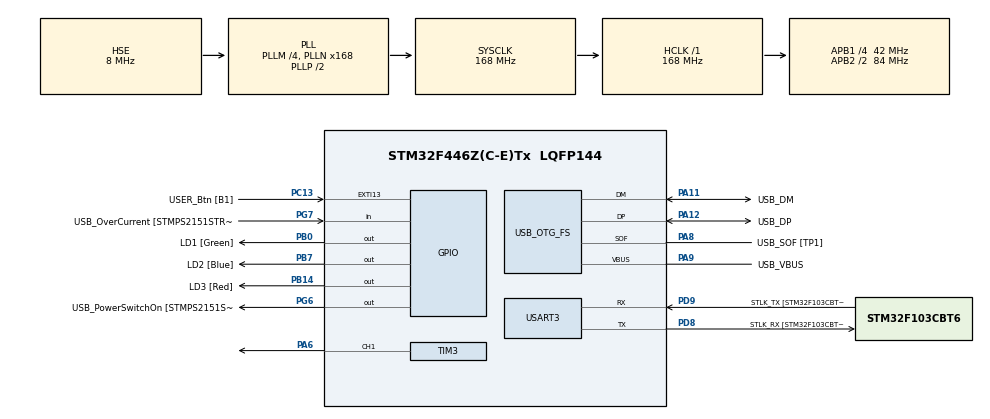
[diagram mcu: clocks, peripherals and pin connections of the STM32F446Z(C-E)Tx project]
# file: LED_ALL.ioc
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Dma.Request0=TIM3_CH1/TRIG
Dma.TIM3_CH1/TRIG.0.Direction=DMA_MEMORY_TO_PERIPH
Dma.TIM3_CH1/TRIG.0.FIFOMode=DMA_FIFOMODE_DISABLE
Dma.TIM3_CH1/TRIG.0.Instance=DMA1_Stream4
Dma.TIM3_CH1/TRIG.0.MemDataAlignment=DMA_MDATAALIGN_WORD
Dma.TIM3_CH1/TRIG.0.MemInc=DMA_MINC_ENABLE
Dma.TIM3_CH1/TRIG.0.Mode=DMA_NORMAL
Dma.TIM3_CH1/TRIG.0.PeriphDataAlignment=DMA_PDATAALIGN_WORD
Dma.TIM3_CH1/TRIG.0.PeriphInc=DMA_PINC_DISABLE
Dma.TIM3_CH1/TRIG.0.Priority=DMA_PRIORITY_LOW
Mcu.Family=STM32F4
Mcu.Name=STM32F446Z(C-E)Tx
Mcu.Package=LQFP144
NVIC.DMA1_Stream4_IRQn=true\:0\:0\:false\:false\:true\:false\:true\:true
NVIC.PriorityGroup=NVIC_PRIORITYGROUP_4
PA10.GPIO_Label=USB_ID
PA10.Signal=USB_OTG_FS_ID
PA11.GPIO_Label=USB_DM
PA11.Mode=Device_Only
PA11.Signal=USB_OTG_FS_DM
PA12.GPIO_Label=USB_DP
PA12.Mode=Device_Only
PA12.Signal=USB_OTG_FS_DP
PA13.GPIO_Label=TMS
PA13.Mode=Serial_Wire
PA13.Signal=SYS_JTMS-SWDIO
PA14.GPIO_Label=TCK
PA14.Mode=Serial_Wire
PA14.Signal=SYS_JTCK-SWCLK
PA6.Signal=S_TIM3_CH1
PA8.GPIO_Label=USB_SOF [TP1]
PA8.Mode=Activate_SOF_FS
PA8.Signal=USB_OTG_FS_SOF
PA9.GPIO_Label=USB_VBUS
PA9.Mode=Activate_VBUS
PA9.Signal=USB_OTG_FS_VBUS
PB0.GPIO_Label=LD1 [Green]
PB0.Signal=GPIO_Output
PB14.GPIO_Label=LD3 [Red]
PB14.Signal=GPIO_Output
PB7.GPIO_Label=LD2 [Blue]
PB7.Signal=GPIO_Output
PC13.GPIO_Label=USER_Btn [B1]
PC13.Signal=GPXTI13
PC14-OSC32_IN.Mode=LSE-External-Oscillator
PC14-OSC32_IN.Signal=RCC_OSC32_IN
PC15-OSC32_OUT.Mode=LSE-External-Oscillator
PC15-OSC32_OUT.Signal=RCC_OSC32_OUT
PD8.GPIO_Label=STLK_RX [STM32F103CBT6_PA3]
PD8.Mode=Asynchronous
PD8.Signal=USART3_TX
PD9.GPIO_Label=STLK_TX [STM32F103CBT6_PA2]
PD9.Mode=Asynchronous
PD9.Signal=USART3_RX
PG6.GPIO_Label=USB_PowerSwitchOn [STMPS2151STR_EN]
PG6.Signal=GPIO_Output
PG7.GPIO_Label=USB_OverCurrent [STMPS2151STR_FAULT]
PG7.Signal=GPIO_Input
PH0-OSC_IN.GPIO_Label=MCO [STM32F103CBT6_PA8]
PH0-OSC_IN.Mode=HSE-External-Clock-Source
PH0-OSC_IN.Signal=RCC_OSC_IN
PH1-OSC_OUT.Mode=HSE-External-Clock-Source
PH1-OSC_OUT.Signal=RCC_OSC_OUT
ProjectManager.HeapSize=0x200
ProjectManager.StackSize=0x400
ProjectManager.TargetToolchain=STM32CubeIDE
RCC.48MHZClocksFreq_Value=24000000
RCC.AHBFreq_Value=168000000
RCC.APB1CLKDivider=RCC_HCLK_DIV4
RCC.APB1Freq_Value=42000000
RCC.APB1TimFreq_Value=84000000
RCC.APB2CLKDivider=RCC_HCLK_DIV2
RCC.APB2Freq_Value=84000000
RCC.APB2TimFreq_Value=168000000
RCC.CortexFreq_Value=168000000
RCC.HCLKFreq_Value=168000000
RCC.HSE_VALUE=8000000
RCC.HSI_VALUE=16000000
RCC.PLLM=4
RCC.PLLMUL=RCC_PLL_MUL9
RCC.PLLN=168
RCC.PLLQ=7
RCC.PRESCALERUSB=RCC_USBCLKSOURCE_PLL_DIV1_5
RCC.SYSCLKFreq_VALUE=168000000
RCC.SYSCLKSource=RCC_SYSCLKSOURCE_PLLCLK
RCC.SYSCLKSourceVirtual=RCC_SYSCLKSOURCE_PLLCLK
RCC.USBFreq_Value=48000000
RCC.VCOOutputFreq_Value=336000000
SH.S_TIM3_CH1.0=TIM3_CH1,PWM Generation1 CH1
TIM3.AutoReloadPreload=TIM_AUTORELOAD_PRELOAD_ENABLE
TIM3.Channel-PWM\ Generation1\ CH1=TIM_CHANNEL_1
TIM3.Period=224
USART3.VirtualMode=VM_ASYNC
USB_OTG_FS.VirtualMode=Device_Only
board=NUCLEO-F446ZE

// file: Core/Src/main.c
/* USER CODE BEGIN Header */
/**
 ******************************************************************************
 * @file           : main.c
 * @brief          : Main program body
 ******************************************************************************
 * @attention
 *
 * Copyright (c) 2026 STMicroelectronics.
 * All rights reserved.
 *
 * This software is licensed under terms that can be found in the LICENSE file
 * in the root directory of this software component.
 * If no LICENSE file comes with this software, it is provided AS-IS.
 *
 ******************************************************************************
 */
/* USER CODE END Header */
#include "main.h"

/* USER CODE BEGIN Includes */
#include"ws2812b.h"
/* USER CODE END Includes */

TIM_HandleTypeDef htim3;
DMA_HandleTypeDef hdma_tim3_ch1_trig;

UART_HandleTypeDef huart3;

PCD_HandleTypeDef hpcd_USB_OTG_FS;

void SystemClock_Config(void);
static void MX_GPIO_Init(void);
static void MX_DMA_Init(void);
static void MX_USART3_UART_Init(void);
static void MX_USB_OTG_FS_PCD_Init(void);
static void MX_TIM3_Init(void);

/* USER CODE BEGIN 0 */
void HAL_TIM_PWM_PulseFinishedCallback(TIM_HandleTypeDef *htim) {
	WS2812B_TransferComplete(htim);
}
/* USER CODE END 0 */

int main(void) {

	/* MCU Configuration--------------------------------------------------------*/

	/* Reset of all peripherals, Initializes the Flash interface and the Systick. */
	HAL_Init();

	/* Configure the system clock */
	SystemClock_Config();

	/* Initialize all configured peripherals */
	MX_GPIO_Init();
	MX_DMA_Init();
	MX_USART3_UART_Init();
	MX_USB_OTG_FS_PCD_Init();
	MX_TIM3_Init();
	/* USER CODE BEGIN 2 */
	WS2812B_Init(&htim3);
	WS2812B_SetBrightness(80);
//	uint8_t hue = 0;
	/* USER CODE END 2 */

	/* Infinite loop */
	while (1) {

		/* USER CODE BEGIN 3 */
		WS2812B_Fill(CRGB_Chocolate);
		WS2812B_Show();
		HAL_Delay(1000);

		WS2812B_Fill(CRGB_ForestGreen);
		WS2812B_Show();
		HAL_Delay(1000);

		WS2812B_Fill(CRGB_DarkGreen);
		WS2812B_Show();
		HAL_Delay(1000);

		WS2812B_Fill(CRGB_Coral);
		WS2812B_Show();
		HAL_Delay(1000);

		WS2812B_Fill(CRGB_Salmon);
		WS2812B_Show();
		HAL_Delay(1000);
	}
	/* USER CODE END 3 */
}

void SystemClock_Config(void) {
	RCC_OscInitTypeDef RCC_OscInitStruct = { 0 };
	RCC_ClkInitTypeDef RCC_ClkInitStruct = { 0 };

	/** Configure the main internal regulator output voltage
	 */
	__HAL_RCC_PWR_CLK_ENABLE();
	__HAL_PWR_VOLTAGESCALING_CONFIG(PWR_REGULATOR_VOLTAGE_SCALE1);

	/** Initializes the RCC Oscillators according to the specified parameters
	 * in the RCC_OscInitTypeDef structure.
	 */
	RCC_OscInitStruct.OscillatorType = RCC_OSCILLATORTYPE_HSE;
	RCC_OscInitStruct.HSEState = RCC_HSE_BYPASS;
	RCC_OscInitStruct.PLL.PLLState = RCC_PLL_ON;
	RCC_OscInitStruct.PLL.PLLSource = RCC_PLLSOURCE_HSE;
	RCC_OscInitStruct.PLL.PLLM = 4;
	RCC_OscInitStruct.PLL.PLLN = 168;
	RCC_OscInitStruct.PLL.PLLP = RCC_PLLP_DIV2;
	RCC_OscInitStruct.PLL.PLLQ = 7;
	RCC_OscInitStruct.PLL.PLLR = 2;
	if (HAL_RCC_OscConfig(&RCC_OscInitStruct) != HAL_OK) {
		Error_Handler();
	}

	/** Initializes the CPU, AHB and APB buses clocks
	 */
	RCC_ClkInitStruct.ClockType = RCC_CLOCKTYPE_HCLK | RCC_CLOCKTYPE_SYSCLK
			| RCC_CLOCKTYPE_PCLK1 | RCC_CLOCKTYPE_PCLK2;
	RCC_ClkInitStruct.SYSCLKSource = RCC_SYSCLKSOURCE_PLLCLK;
	RCC_ClkInitStruct.AHBCLKDivider = RCC_SYSCLK_DIV1;
	RCC_ClkInitStruct.APB1CLKDivider = RCC_HCLK_DIV4;
	RCC_ClkInitStruct.APB2CLKDivider = RCC_HCLK_DIV2;

	if (HAL_RCC_ClockConfig(&RCC_ClkInitStruct, FLASH_LATENCY_5) != HAL_OK) {
		Error_Handler();
	}
}

static void MX_TIM3_Init(void) {

	TIM_MasterConfigTypeDef sMasterConfig = { 0 };
	TIM_OC_InitTypeDef sConfigOC = { 0 };

	htim3.Instance = TIM3;
	htim3.Init.Prescaler = 0;
	htim3.Init.CounterMode = TIM_COUNTERMODE_UP;
	htim3.Init.Period = 104;
	htim3.Init.ClockDivision = TIM_CLOCKDIVISION_DIV1;
	htim3.Init.AutoReloadPreload = TIM_AUTORELOAD_PRELOAD_ENABLE;
	if (HAL_TIM_PWM_Init(&htim3) != HAL_OK) {
		Error_Handler();
	}
	sMasterConfig.MasterOutputTrigger = TIM_TRGO_RESET;
	sMasterConfig.MasterSlaveMode = TIM_MASTERSLAVEMODE_DISABLE;
	if (HAL_TIMEx_MasterConfigSynchronization(&htim3, &sMasterConfig)
			!= HAL_OK) {
		Error_Handler();
	}
	sConfigOC.OCMode = TIM_OCMODE_PWM1;
	sConfigOC.Pulse = 0;
	sConfigOC.OCPolarity = TIM_OCPOLARITY_HIGH;
	sConfigOC.OCFastMode = TIM_OCFAST_DISABLE;
	if (HAL_TIM_PWM_ConfigChannel(&htim3, &sConfigOC, TIM_CHANNEL_1)
			!= HAL_OK) {
		Error_Handler();
	}
	HAL_TIM_MspPostInit(&htim3);

}

static void MX_USART3_UART_Init(void) {

	huart3.Instance = USART3;
	huart3.Init.BaudRate = 115200;
	huart3.Init.WordLength = UART_WORDLENGTH_8B;
	huart3.Init.StopBits = UART_STOPBITS_1;
	huart3.Init.Parity = UART_PARITY_NONE;
	huart3.Init.Mode = UART_MODE_TX_RX;
	huart3.Init.HwFlowCtl = UART_HWCONTROL_NONE;
	huart3.Init.OverSampling = UART_OVERSAMPLING_16;
	if (HAL_UART_Init(&huart3) != HAL_OK) {
		Error_Handler();
	}

}

static void MX_USB_OTG_FS_PCD_Init(void) {

	hpcd_USB_OTG_FS.Instance = USB_OTG_FS;
	hpcd_USB_OTG_FS.Init.dev_endpoints = 6;
	hpcd_USB_OTG_FS.Init.speed = PCD_SPEED_FULL;
	hpcd_USB_OTG_FS.Init.dma_enable = DISABLE;
	hpcd_USB_OTG_FS.Init.phy_itface = PCD_PHY_EMBEDDED;
	hpcd_USB_OTG_FS.Init.Sof_enable = ENABLE;
	hpcd_USB_OTG_FS.Init.low_power_enable = DISABLE;
	hpcd_USB_OTG_FS.Init.lpm_enable = DISABLE;
	hpcd_USB_OTG_FS.Init.vbus_sensing_enable = ENABLE;
	hpcd_USB_OTG_FS.Init.use_dedicated_ep1 = DISABLE;
	if (HAL_PCD_Init(&hpcd_USB_OTG_FS) != HAL_OK) {
		Error_Handler();
	}

}

static void MX_DMA_Init(void) {

	/* DMA controller clock enable */
	__HAL_RCC_DMA1_CLK_ENABLE();

	/* DMA interrupt init */
	/* DMA1_Stream4_IRQn interrupt configuration */
	HAL_NVIC_SetPriority(DMA1_Stream4_IRQn, 0, 0);
	HAL_NVIC_EnableIRQ(DMA1_Stream4_IRQn);

}

static void MX_GPIO_Init(void) {
	GPIO_InitTypeDef GPIO_InitStruct = { 0 };

	/* GPIO Ports Clock Enable */
	__HAL_RCC_GPIOC_CLK_ENABLE();
	__HAL_RCC_GPIOH_CLK_ENABLE();
	__HAL_RCC_GPIOA_CLK_ENABLE();
	__HAL_RCC_GPIOB_CLK_ENABLE();
	__HAL_RCC_GPIOD_CLK_ENABLE();
	__HAL_RCC_GPIOG_CLK_ENABLE();

	/*Configure GPIO pin Output Level */
	HAL_GPIO_WritePin(GPIOB, LD1_Pin | LD3_Pin | LD2_Pin, GPIO_PIN_RESET);

	/*Configure GPIO pin Output Level */
	HAL_GPIO_WritePin(USB_PowerSwitchOn_GPIO_Port, USB_PowerSwitchOn_Pin,
			GPIO_PIN_RESET);

	/*Configure GPIO pin : USER_Btn_Pin */
	GPIO_InitStruct.Pin = USER_Btn_Pin;
	GPIO_InitStruct.Mode = GPIO_MODE_IT_RISING;
	GPIO_InitStruct.Pull = GPIO_NOPULL;
	HAL_GPIO_Init(USER_Btn_GPIO_Port, &GPIO_InitStruct);

	/*Configure GPIO pins : LD1_Pin LD3_Pin LD2_Pin */
	GPIO_InitStruct.Pin = LD1_Pin | LD3_Pin | LD2_Pin;
	GPIO_InitStruct.Mode = GPIO_MODE_OUTPUT_PP;
	GPIO_InitStruct.Pull = GPIO_NOPULL;
	GPIO_InitStruct.Speed = GPIO_SPEED_FREQ_LOW;
	HAL_GPIO_Init(GPIOB, &GPIO_InitStruct);

	/*Configure GPIO pin : USB_PowerSwitchOn_Pin */
	GPIO_InitStruct.Pin = USB_PowerSwitchOn_Pin;
	GPIO_InitStruct.Mode = GPIO_MODE_OUTPUT_PP;
	GPIO_InitStruct.Pull = GPIO_NOPULL;
	GPIO_InitStruct.Speed = GPIO_SPEED_FREQ_LOW;
	HAL_GPIO_Init(USB_PowerSwitchOn_GPIO_Port, &GPIO_InitStruct);

	/*Configure GPIO pin : USB_OverCurrent_Pin */
	GPIO_InitStruct.Pin = USB_OverCurrent_Pin;
	GPIO_InitStruct.Mode = GPIO_MODE_INPUT;
	GPIO_InitStruct.Pull = GPIO_NOPULL;
	HAL_GPIO_Init(USB_OverCurrent_GPIO_Port, &GPIO_InitStruct);

}

void Error_Handler(void) {
	__disable_irq();
	while (1) {
	}
}
